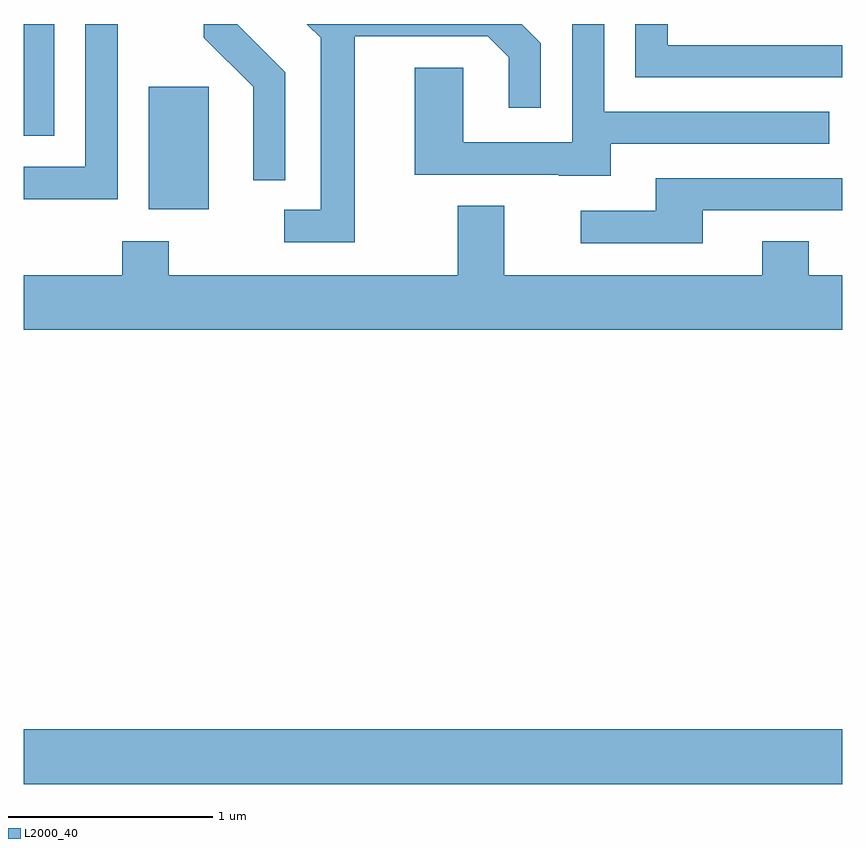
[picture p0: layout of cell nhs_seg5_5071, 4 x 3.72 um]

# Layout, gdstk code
import gdstk
lib = gdstk.Library(unit=1e-6, precision=1e-09)
def R(c, l, rs):  # rectangles x0, y0, x1, y1
    for r in rs: c.add(gdstk.rectangle(r[:2], r[2:], *l))
def P(c, l, *ps):  # polygons
    for p in ps: c.add(gdstk.Polygon(p, *l))
L2000_40 = (2000, 40)

nhs_seg5_5071 = lib.new_cell('nhs_seg5_5071')
R(nhs_seg5_5071, L2000_40, [(335.611,1452.356,339.611,1452.624), (336.221,1455.166,336.514,1455.764), (335.611,1455.526,335.759,1456.072)])
P(nhs_seg5_5071, L2000_40, [(337.229,1456.011),(337.879,1456.011),(337.981,1455.909),(337.981,1455.663),(338.139,1455.663),(338.139,1455.977),(338.044,1456.072),(336.993,1456.072),(337.061,1456.004),(337.061,1455.164),(336.883,1455.164),(336.883,1455.006),(337.229,1455.006)],
  [(338.479,1455.486),(339.548,1455.486),(339.548,1455.644),(338.449,1455.644),(338.449,1456.072),(338.291,1456.072),(338.291,1455.494),(337.759,1455.494),(337.759,1455.859),(337.521,1455.859),(337.521,1455.336),(338.225,1455.336),(338.225,1455.331),(338.479,1455.331)],
  [(336.069,1456.072),(335.911,1456.072),(335.911,1455.374),(335.611,1455.374),(335.611,1455.216),(336.069,1455.216)],
  [(336.889,1455.837),(336.654,1456.072),(336.491,1456.072),(336.491,1456.004),(336.731,1455.764),(336.731,1455.308),(336.889,1455.308)],
  [(339.611,1455.969),(338.759,1455.969),(338.759,1456.072),(338.601,1456.072),(338.601,1455.811),(339.611,1455.811)],
  [(338.929,1455.161),(339.611,1455.161),(339.611,1455.319),(338.701,1455.319),(338.701,1455.159),(338.333,1455.159),(338.333,1455.001),(338.929,1455.001)],
  [(339.611,1454.844),(339.449,1454.844),(339.449,1455.009),(339.221,1455.009),(339.221,1454.844),(337.959,1454.844),(337.959,1455.184),(337.731,1455.184),(337.731,1454.844),(336.319,1454.844),(336.319,1455.009),(336.091,1455.009),(336.091,1454.844),(335.611,1454.844),(335.611,1454.576),(339.611,1454.576)])

lib.write_gds('nhs_seg5_5071.gds')
